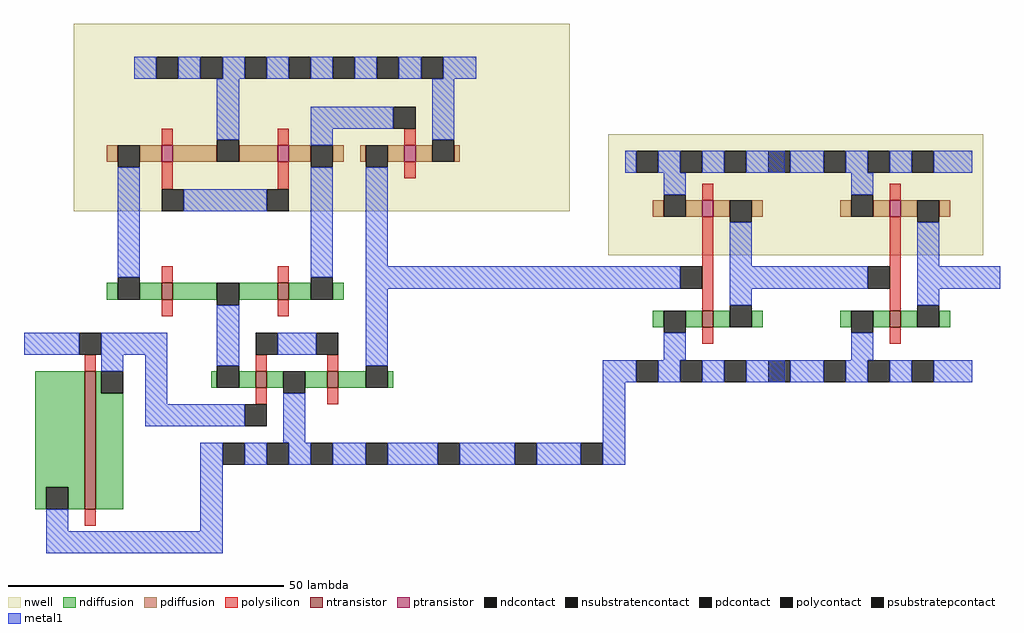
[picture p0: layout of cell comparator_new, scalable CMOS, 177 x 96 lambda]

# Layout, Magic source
magic
tech scmos
<< nwell >>
rect 53 71 61 75
<< psubstratepcontact >>
rect 53 33 57 37
rect -20 18 -16 22
rect -7 18 -3 22
rect 7 18 11 22
rect 19 18 23 22
<< nsubstratencontact >>
rect 53 71 57 75
<< metal1 >>
rect 57 71 61 75
rect -16 50 33 54
rect 61 50 67 54
rect -21 18 -20 22
rect -16 18 -7 22
rect -3 18 7 22
rect 11 18 19 22
rect 23 18 27 37
rect 57 33 61 37
use Comparator  Comparator_0
transform 1 0 -43 0 1 3
box -39 -1 60 95
use Inverter  Inverter_0
transform 1 0 50 0 1 53
box -26 -20 11 25
use Inverter  Inverter_1
transform 1 0 84 0 1 53
box -26 -20 11 25
<< end >>

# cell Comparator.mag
magic
tech scmos
<< nwell >>
rect -30 61 60 95
<< ntransistor >>
rect -14 45 -12 48
rect 7 45 9 48
rect -28 7 -26 32
rect 3 29 5 32
rect 16 29 18 32
<< ptransistor >>
rect -14 70 -12 73
rect 7 70 9 73
rect 30 70 32 73
<< ndiffusion >>
rect -24 45 -22 48
rect -18 45 -14 48
rect -12 45 -4 48
rect 0 45 7 48
rect 9 45 13 48
rect 17 45 19 48
rect -37 11 -28 32
rect -37 7 -35 11
rect -31 7 -28 11
rect -26 28 -25 32
rect -5 29 -4 32
rect 0 29 3 32
rect 5 29 8 32
rect -26 7 -21 28
rect 12 29 16 32
rect 18 29 23 32
rect 27 29 28 32
<< pdiffusion >>
rect -24 70 -22 73
rect -18 70 -14 73
rect -12 70 -4 73
rect 0 70 7 73
rect 9 70 13 73
rect 17 70 19 73
rect 22 70 23 73
rect 27 70 30 73
rect 32 70 35 73
rect 39 70 40 73
<< ndcontact >>
rect -22 45 -18 49
rect -4 44 0 48
rect 13 45 17 49
rect -35 7 -31 11
rect -25 28 -21 32
rect -4 29 0 33
rect 8 28 12 32
rect 23 29 27 33
<< pdcontact >>
rect -22 69 -18 73
rect -4 70 0 74
rect 13 69 17 73
rect 23 69 27 73
rect 35 70 39 74
<< psubstratepcontact >>
rect -3 15 1 19
rect 5 15 9 19
rect 13 15 17 19
<< nsubstratencontact >>
rect -15 85 -11 89
rect -7 85 -3 89
rect 1 85 5 89
rect 9 85 13 89
rect 17 85 21 89
rect 25 85 29 89
rect 33 85 37 89
<< polysilicon >>
rect -14 73 -12 76
rect 7 73 9 76
rect 30 73 32 76
rect -14 65 -12 70
rect 7 65 9 70
rect 30 67 32 70
rect -14 48 -12 51
rect 7 48 9 51
rect -14 42 -12 45
rect 7 42 9 45
rect -28 32 -26 35
rect 3 32 5 35
rect 16 32 18 35
rect 3 26 5 29
rect 16 26 18 29
rect -28 4 -26 7
<< polycontact >>
rect 28 76 32 80
rect -14 61 -10 65
rect 5 61 9 65
rect -29 35 -25 39
rect 3 35 7 39
rect 14 35 18 39
rect 1 22 5 26
<< metal1 >>
rect -19 85 -15 89
rect -11 85 -7 89
rect -3 85 1 89
rect 5 85 9 89
rect 13 85 17 89
rect 21 85 25 89
rect 29 85 33 89
rect 37 85 43 89
rect -4 74 0 85
rect 13 76 28 80
rect 13 73 17 76
rect 35 74 39 85
rect -22 49 -18 69
rect -10 61 5 65
rect 13 49 17 69
rect -39 35 -29 39
rect -25 35 -13 39
rect -25 32 -21 35
rect -17 26 -13 35
rect -4 33 0 44
rect 7 35 14 39
rect 23 33 27 69
rect -17 22 1 26
rect 8 19 12 28
rect -35 3 -31 7
rect -7 3 -3 19
rect 1 15 5 19
rect 9 15 13 19
rect 17 15 22 19
rect -35 -1 -3 3
<< labels >>
rlabel metal1 -2 86 -2 86 1 Vdd!
rlabel metal1 -5 17 -5 17 1 gnd!
<< end >>

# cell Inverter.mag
magic
tech scmos
<< nwell >>
rect -26 3 8 25
<< ntransistor >>
rect -9 -10 -7 -7
<< ptransistor >>
rect -9 10 -7 13
<< ndiffusion >>
rect -18 -10 -16 -7
rect -12 -10 -9 -7
rect -7 -10 -4 -7
rect 0 -10 2 -7
<< pdiffusion >>
rect -18 10 -16 13
rect -12 10 -9 13
rect -7 10 -4 13
rect 0 10 2 13
<< ndcontact >>
rect -16 -11 -12 -7
rect -4 -10 0 -6
<< pdcontact >>
rect -16 10 -12 14
rect -4 9 0 13
<< psubstratepcontact >>
rect -21 -20 -17 -16
rect -13 -20 -9 -16
rect -5 -20 -1 -16
<< nsubstratencontact >>
rect -21 18 -17 22
rect -13 18 -9 22
rect -5 18 -1 22
<< polysilicon >>
rect -9 13 -7 16
rect -9 -7 -7 10
rect -9 -13 -7 -10
<< polycontact >>
rect -13 -3 -9 1
<< metal1 >>
rect -23 18 -21 22
rect -17 18 -13 22
rect -9 18 -5 22
rect -1 18 6 22
rect -16 14 -12 18
rect -4 1 0 9
rect -17 -3 -13 1
rect -4 -3 11 1
rect -4 -6 0 -3
rect -16 -16 -12 -11
rect -23 -20 -21 -16
rect -17 -20 -13 -16
rect -9 -20 -5 -16
rect -1 -20 6 -16
<< labels >>
rlabel metal1 5 -2 5 -2 1 out
rlabel metal1 -16 -2 -16 -2 1 in
rlabel metal1 -15 -18 -15 -18 1 gnd!
rlabel metal1 -15 20 -15 20 5 1_d
<< end >>
